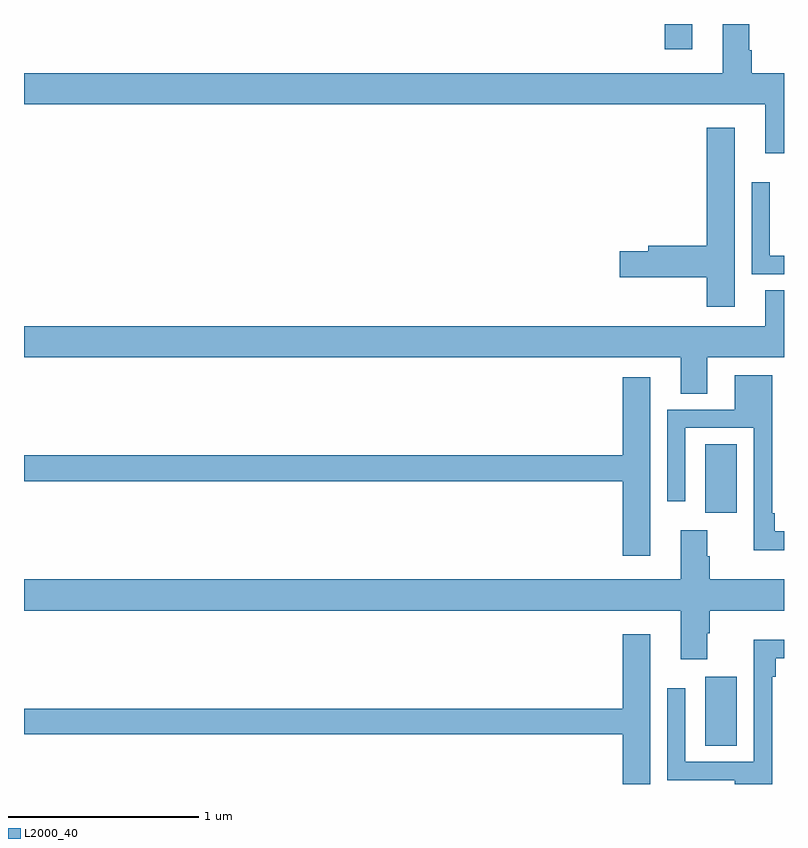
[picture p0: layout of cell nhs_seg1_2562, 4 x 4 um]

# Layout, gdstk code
import gdstk
lib = gdstk.Library(unit=1e-6, precision=1e-09)
def R(c, l, rs):  # rectangles x0, y0, x1, y1
    for r in rs: c.add(gdstk.rectangle(r[:2], r[2:], *l))
def P(c, l, *ps):  # polygons
    for p in ps: c.add(gdstk.Polygon(p, *l))
L2000_40 = (2000, 40)

nhs_seg1_2562 = lib.new_cell('nhs_seg1_2562')
R(nhs_seg1_2562, L2000_40, [(254.585,504.4,254.752,504.763), (254.585,505.626,254.752,505.988), (254.372,508.065,254.518,508.199)])
P(nhs_seg1_2562, L2000_40, [(255,507.94),(254.831,507.94),(254.831,508.061),(254.818,508.061),(254.818,508.198),(254.678,508.198),(254.678,507.94),(251,507.94),(251,507.776),(254.9,507.776),(254.9,507.519),(255,507.519)],
  [(254.74,507.652),(254.594,507.652),(254.594,507.032),(254.285,507.032),(254.285,507.002),(254.136,507.002),(254.136,506.867),(254.594,506.867),(254.594,506.712),(254.74,506.712)],
  [(255,506.979),(254.925,506.979),(254.925,507.367),(254.829,507.367),(254.829,506.883),(255,506.883)],
  [(254.596,506.444),(255,506.444),(255,506.798),(254.9,506.798),(254.9,506.608),(251,506.608),(251,506.444),(254.456,506.444),(254.456,506.254),(254.596,506.254)],
  [(255,505.528),(254.95,505.528),(254.95,505.624),(254.937,505.624),(254.937,506.35),(254.741,506.35),(254.741,506.169),(254.385,506.169),(254.385,505.686),(254.481,505.686),(254.481,506.073),(254.841,506.073),(254.841,505.43),(255,505.43)],
  [(254.296,506.341),(254.15,506.341),(254.15,505.928),(251,505.928),(251,505.792),(254.15,505.792),(254.15,505.401),(254.296,505.401)],
  [(254.596,504.992),(254.609,504.992),(254.609,505.112),(255,505.112),(255,505.276),(254.609,505.276),(254.609,505.397),(254.596,505.397),(254.596,505.534),(254.456,505.534),(254.456,505.276),(251,505.276),(251,505.112),(254.456,505.112),(254.456,504.855),(254.596,504.855)],
  [(254.296,504.988),(254.15,504.988),(254.15,504.596),(251,504.596),(251,504.46),(254.15,504.46),(254.15,504.199),(254.296,504.199)],
  [(254.937,504.764),(254.957,504.764),(254.957,504.86),(255,504.86),(255,504.958),(254.841,504.958),(254.841,504.315),(254.481,504.315),(254.481,504.703),(254.385,504.703),(254.385,504.219),(254.741,504.219),(254.741,504.199),(254.937,504.199)])

lib.write_gds('nhs_seg1_2562.gds')
